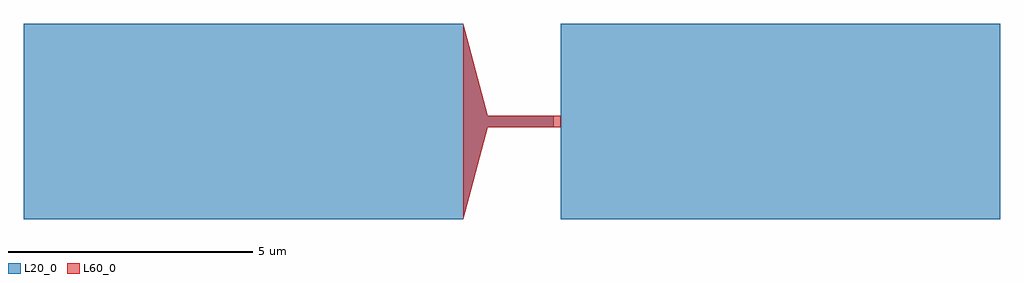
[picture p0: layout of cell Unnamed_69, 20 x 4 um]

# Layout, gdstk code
import gdstk
lib = gdstk.Library(unit=1e-6, precision=1e-09)
def R(c, l, rs):  # rectangles x0, y0, x1, y1
    for r in rs: c.add(gdstk.rectangle(r[:2], r[2:], *l))
def P(c, l, *ps):  # polygons
    for p in ps: c.add(gdstk.Polygon(p, *l))
L20_0 = (20, 0)
L60_0 = (60, 0)

rectangle_s9_4_l20_0_cf_ = lib.new_cell('rectangle_S9_4_L20_0_CF_f3b92d1a')
R(rectangle_s9_4_l20_0_cf_, L20_0, [(0,0,9,4)])

taper_l0p5_w4_w0p228_pn_ = lib.new_cell('taper_L0p5_W4_W0p228_PN_e6f8ba5d')
P(taper_l0p5_w4_w0p228_pn_, L20_0, [(0,-2),(0,2),(0.5,0.114),(0.5,-0.114)])

rectangle_s1p36_0p228_l_ = lib.new_cell('rectangle_S1p36_0p228_L_79e4c72e')
R(rectangle_s1p36_0p228_l_, L20_0, [(0,0,1.36,0.228)])

c_taper_l0p5_w4_w0p228_pn_ = lib.new_cell('taper_L0p5_W4_W0p228_PN_c0c93718')
P(c_taper_l0p5_w4_w0p228_pn_, L60_0, [(0,-2),(0,2),(0.5,0.114),(0.5,-0.114)])

rectangle_s1p5_0p228_l6_ = lib.new_cell('rectangle_S1p5_0p228_L6_12f05a86')
R(rectangle_s1p5_0p228_l6_, L60_0, [(0,0,1.5,0.228)])

unnamed_69 = lib.new_cell('Unnamed_69')
unnamed_69.add(gdstk.Reference(rectangle_s9_4_l20_0_cf_, (0,0)))
unnamed_69.add(gdstk.Reference(taper_l0p5_w4_w0p228_pn_, (9,2)))
unnamed_69.add(gdstk.Reference(rectangle_s1p36_0p228_l_, (9.5,1.886)))
unnamed_69.add(gdstk.Reference(c_taper_l0p5_w4_w0p228_pn_, (9,2)))
unnamed_69.add(gdstk.Reference(rectangle_s1p5_0p228_l6_, (9.5,1.886)))
unnamed_69.add(gdstk.Reference(rectangle_s9_4_l20_0_cf_, (11,0)))

lib.write_gds('Unnamed_69.gds')
